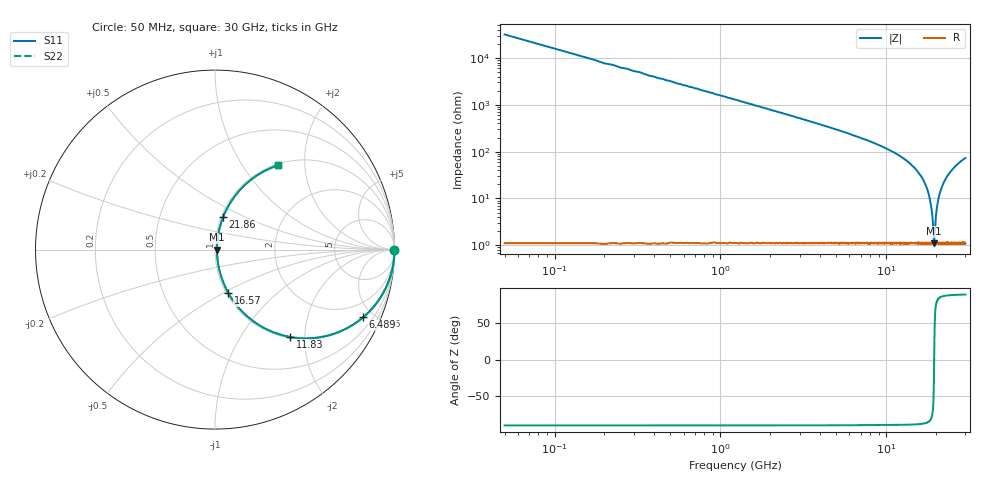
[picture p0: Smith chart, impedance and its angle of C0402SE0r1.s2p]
!	AVX Thin Film Operation 	Date: April 2014
!	Description: Accu-P® Series, Thin Film  SMD RF Capacitor
!	Part Number: 04021J0R1ZBSTR
# MHZ S MA R 50
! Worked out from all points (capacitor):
!   1201 points, 50 MHz to 30 GHz, reference 50 ohm
!   read as one part in series: C = 101 fF near 199.8 MHz
!   lowest |Z| = 1.11 ohm at 19.44 GHz (marker M1)
!   series resonance near 19.44 GHz, so ESL is about 670 pH
!   S11 on the Smith chart (normalised r, x): 50 MHz: open; 6.489 GHz: 1.02, -4.36; 11.83 GHz: 1.02, -1.69; 16.57 GHz: 1.02, -0.53; 21.86 GHz: 1.02, +0.38; 30 GHz: 1.02, +1.47
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50  1 -0.2  0.003142 89.8  0.003142 89.8  1 -0.2
274.625  1 -1.0  0.017 89.0  0.017 89.0  1 -1.0
449.333  1 -1.6  0.028 88.4  0.028 88.4  1 -1.6
748.833  0.999 -2.7  0.047 87.3  0.047 87.3  0.999 -2.7
1198.083  0.997 -4.3  0.075 85.6  0.075 85.6  0.997 -4.3
2695.583  0.985 -9.8  0.17 80.1  0.17 80.1  0.985 -9.8
5041.667  0.946 -18.7  0.321 71.0  0.321 71.0  0.946 -18.7
6489.25  0.907 -24.6  0.416 65.1  0.416 65.1  0.907 -24.6
10058.29  0.754 -40.6  0.65 48.9  0.65 48.9  0.754 -40.6
11830.33  0.642 -49.3  0.758 40.0  0.758 40.0  0.642 -49.3
15025  0.389 -65.6  0.911 22.9  0.911 22.9  0.389 -65.6
16572.42  0.252 -73.0  0.957 14.6  0.957 14.6  0.252 -73.0
17645.62  0.156 -77.0  0.977 8.9  0.977 8.9  0.156 -77.0
18444.29  0.086 -77.8  0.985 4.9  0.985 4.9  0.086 -77.8
18918.5  0.046 -73.5  0.988 2.5  0.988 2.5  0.046 -73.5
19342.79  0.014 -36.9  0.989 0.5  0.989 0.5  0.014 -36.9
19442.62  0.011 -0.5  0.989 0.0  0.989 0.0  0.011 -0.5
20016.67  0.048 74.1  0.988 -2.7  0.988 -2.7  0.048 74.1
20740.46  0.105 78.0  0.984 -6.0  0.984 -6.0  0.105 78.0
21863.58  0.187 75.9  0.972 -10.8  0.972 -10.8  0.187 75.9
25033.29  0.382 66.0  0.914 -22.5  0.914 -22.5  0.382 66.0
30000  0.587 53.2  0.801 -35.9  0.801 -35.9  0.587 53.2
